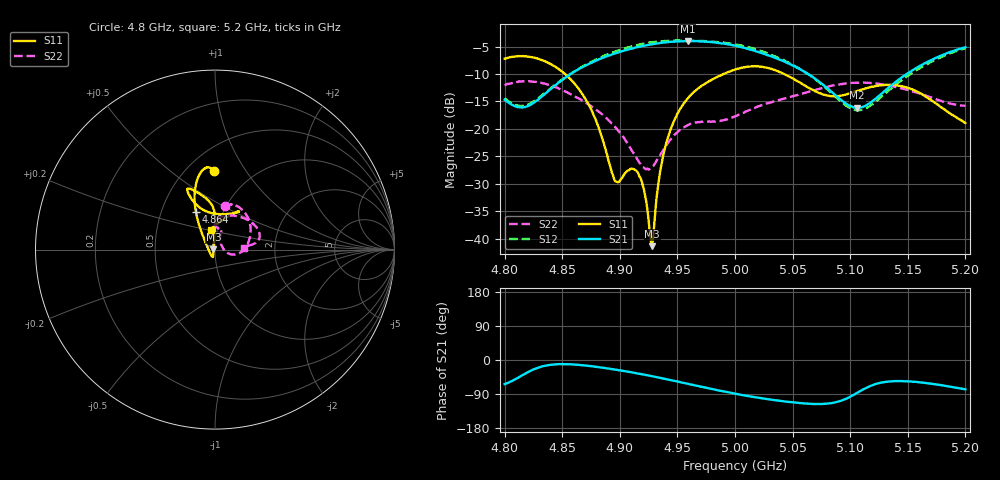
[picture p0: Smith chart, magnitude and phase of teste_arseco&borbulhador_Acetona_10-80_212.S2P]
! Network Analyzer HP8722D
! Hewlett-Packard
! Data name: Linha & Wilkinson
! Saver's name: Rodrigo Anjos
! Comments: Teste da utilização de aquisição
! continua pelo VNA HP8722D
! Time and date: 25/4/2025 17:02
!  Frequency  S11  S21  S12  S22
# HZ  S  MA R 50
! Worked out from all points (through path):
!   401 points, 4.8 GHz to 5.2 GHz, reference 50 ohm
!   highest |S21| = -3.99 dB at 4.959 GHz (marker M1); lowest = -16.1 dB at 5.106 GHz (marker M2)
!   lowest |S11| = -41.3 dB at 4.928 GHz (marker M3), VSWR 1.02, Z = 49.2 + j0.0874 ohm
!   |S11| at or under -10 dB: 4.852 GHz to 4.99 GHz (137.5 MHz wide, 2.79 % of centre); 5.043 GHz to end of sweep
!   |S22| runs from -27.4 to -11.3 dB; largest |S21 - S12| = 1.2
!   S11 on the Smith chart (normalised r, x): 4.8 GHz: 0.67, +0.72; 4.864 GHz: 0.75, +0.33; 5.2 GHz: 0.93, +0.21
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4.8e9  0.4358 90.9  0.1851 -63.6  0.1902 69.7  0.2498 77.0
4.82e9  0.4539 97.1  0.1612 -32.3  0.1665 98.6  0.2711 61.6
4.843e9  0.3737 106.6  0.2454 -11.8  0.2487 118.9  0.2433 36.9
4.864e9  0.2343 117.0  0.3492 -12.6  0.3517 121.0  0.1902 12.2
4.867e9  0.2112 118.6  0.3628 -13.7  0.3684 120.7  0.1829 8.8
4.88e9  0.1145 128.9  0.4212 -18.4  0.4318 118.3  0.1483 -4.9
4.896e9  0.03344 -170.6  0.4872 -25.3  0.5061 113.3  0.104 -15.4
4.91e9  0.04351 -109.4  0.5392 -32.4  0.5627 107.3  0.06494 -12.8
4.917e9  0.03713 -106.2  0.5601 -36.3  0.5866 103.5  0.04934 0.4
4.921e9  0.0279 -110.8  0.5735 -38.7  0.5983 101.3  0.04446 13.3
4.926e9  0.01151 -139.0  0.5851 -41.6  0.6119 98.3  0.04322 33.2
4.928e9  0.008581 174.1  0.5908 -42.8  0.6162 97.1  0.04511 40.9
4.934e9  0.03479 101.1  0.6037 -46.6  0.6267 93.4  0.05624 57.3
4.944e9  0.09848 91.2  0.621 -52.9  0.6359 86.9  0.08003 68.8
4.959e9  0.1899 89.9  0.6314 -62.8  0.6369 77.4  0.1085 70.9
5e9  0.3469 109.3  0.5728 -89.0  0.5908 50.9  0.13 88.0
5.03e9  0.3562 115.3  0.4622 -104.1  0.4789 33.7  0.1725 85.5
5.067e9  0.228 105.6  0.2995 -115.7  0.2968 23.5  0.2219 57.1
5.106e9  0.2211 65.4  0.156 -86.7  0.1477 56.2  0.2634 24.8
5.134e9  0.2517 57.9  0.2405 -56.6  0.2263 88.7  0.2481 12.5
5.169e9  0.187 70.7  0.4175 -62.0  0.4006 84.9  0.195 7.0
5.2e9  0.1134 101.2  0.5549 -77.6  0.5432 70.2  0.162 3.6
